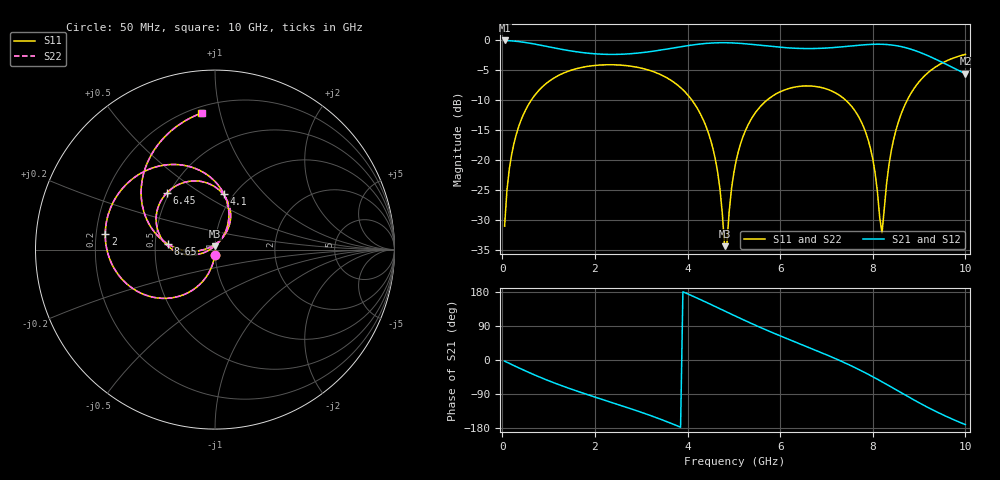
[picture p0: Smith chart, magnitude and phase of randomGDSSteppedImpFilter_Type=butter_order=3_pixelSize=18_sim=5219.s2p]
! freq	dB(S11)	phase(S11)	dB(S12)	phase(S12)
!  dB(S21)	phase(S21)	dB(S22)	phase(S22)
!S-par simulation data
#  GHz  S  DB  R 50
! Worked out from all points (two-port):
!   200 points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, 50 MHz to 10 GHz, reference 50 ohm
!   highest |S21| = -0.01 dB at 50 MHz (marker M1); lowest = -5.6 dB at 10 GHz (marker M2)
!   |S21| within 3 dB of the highest: start of sweep to 9.321 GHz
!   lowest |S11| = -34.4 dB at 4.8 GHz (marker M3), VSWR 1.04, Z = 49.7 + j1.88 ohm
!   |S11| at or under -10 dB: start of sweep to 624.7 MHz; 4.096 GHz to 5.714 GHz (1.618 GHz wide, 33 % of centre); 7.416 GHz to 8.743 GHz (1.326 GHz wide, 16.4 % of centre)
!   |S22| runs from -34.4 to -2.3 dB; largest |S21 - S12| = 0
!   S11 on the Smith chart (normalised r, x): 50 MHz: 1.00, -0.06; 2 GHz: 0.24, +0.07; 4.1 GHz: 0.90, +0.62; 6.45 GHz: 0.48, +0.37; 8.65 GHz: 0.58, +0.04; 10 GHz: 0.24, +0.88
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0.05  -31.05 -93.1  -0.01 -3.0  -0.01 -3.0  -31.05 -93.1
0.2  -19.15 -102.3  -0.07 -11.8  -0.07 -11.8  -19.15 -102.3
0.5  -11.67 -119.3  -0.35 -28.8  -0.35 -28.8  -11.66 -119.4
1.05  -6.61 -147.6  -1.14 -57.1  -1.14 -57.1  -6.61 -147.6
1.75  -4.46 -178.2  -2.05 -87.7  -2.05 -87.7  -4.46 -178.2
2  -4.18 171.7  -2.24 -97.8  -2.24 -97.8  -4.18 171.7
3.4  -5.65 114.7  -1.64 -155.5  -1.64 -155.5  -5.65 114.7
4.1  -10.04 81.0  -0.77 169.3  -0.77 169.3  -10.04 81.0
4.6  -19.84 58.9  -0.41 141.0  -0.41 141.0  -19.84 58.9
4.8  -34.39 97.2  -0.38 129.4  -0.38 129.4  -34.40 97.1
4.85  -34.06 162.3  -0.39 126.5  -0.39 126.5  -34.08 162.4
5.05  -20.09 -164.5  -0.45 114.9  -0.45 114.9  -20.10 -164.5
5.55  -11.25 173.9  -0.80 87.1  -0.80 87.1  -11.25 173.9
6.45  -7.65 130.3  -1.35 41.4  -1.35 41.4  -7.65 130.3
6.7  -7.64 118.3  -1.36 29.0  -1.36 29.0  -7.64 118.4
7.75  -13.57 65.3  -0.77 -28.2  -0.77 -28.2  -13.57 65.4
8  -19.83 56.6  -0.65 -44.1  -0.65 -44.1  -19.82 56.8
8.2  -32.20 129.6  -0.65 -57.5  -0.65 -57.5  -32.02 129.4
8.35  -20.76 -175.6  -0.72 -67.8  -0.72 -67.8  -20.75 -175.9
8.65  -11.57 173.4  -1.10 -88.9  -1.10 -88.9  -11.57 173.3
9.3  -4.73 133.4  -2.93 -132.0  -2.93 -132.0  -4.73 133.3
10  -2.33 95.7  -5.57 -170.6  -5.57 -170.6  -2.33 95.6
